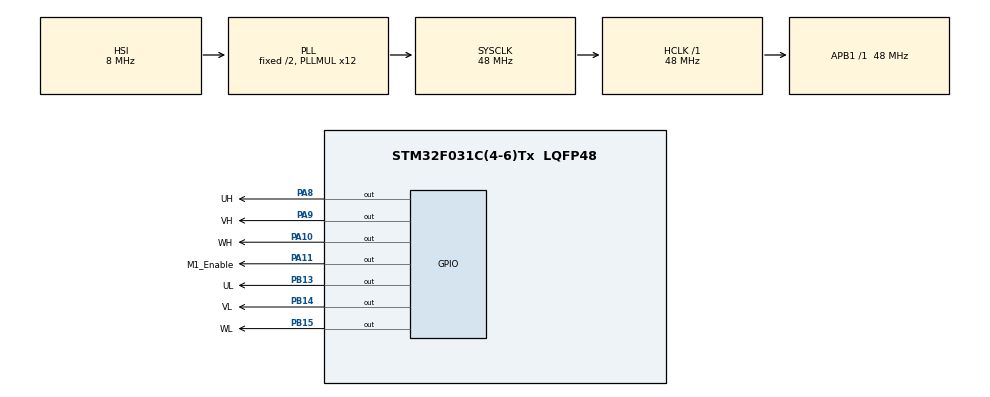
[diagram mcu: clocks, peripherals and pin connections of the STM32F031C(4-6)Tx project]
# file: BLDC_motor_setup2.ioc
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Mcu.Family=STM32F0
Mcu.Name=STM32F031C(4-6)Tx
Mcu.Package=LQFP48
PA10.GPIO_Label=WH
PA10.Signal=GPIO_Output
PA11.GPIO_Label=M1_Enable
PA11.Signal=GPIO_Output
PA13.Mode=Serial_Wire
PA13.Signal=SYS_SWDIO
PA14.Mode=Serial_Wire
PA14.Signal=SYS_SWCLK
PA8.GPIO_Label=UH
PA8.Signal=GPIO_Output
PA9.GPIO_Label=VH
PA9.Signal=GPIO_Output
PB13.GPIO_Label=UL
PB13.Signal=GPIO_Output
PB14.GPIO_Label=VL
PB14.Signal=GPIO_Output
PB15.GPIO_Label=WL
PB15.Signal=GPIO_Output
PF0-OSC_IN.Mode=HSE-External-Oscillator
PF0-OSC_IN.Signal=RCC_OSC_IN
PF1-OSC_OUT.Mode=HSE-External-Oscillator
PF1-OSC_OUT.Signal=RCC_OSC_OUT
ProjectManager.HeapSize=0x200
ProjectManager.StackSize=0x400
ProjectManager.TargetToolchain=STM32CubeIDE
RCC.AHBFreq_Value=48000000
RCC.APB1Freq_Value=48000000
RCC.APB1TimFreq_Value=48000000
RCC.HCLKFreq_Value=48000000
RCC.PLLMUL=RCC_PLL_MUL12
RCC.SYSCLKFreq_VALUE=48000000
RCC.SYSCLKSource=RCC_SYSCLKSOURCE_PLLCLK
TIM1.Period=100-1
TIM1.Prescaler=48-1
VP_TIM1_VS_ClockSourceINT.Mode=Internal
board=custom

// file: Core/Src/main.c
/* USER CODE BEGIN Header */
/**
  ******************************************************************************
  * @file           : main.c
  * @brief          : Main program body
  ******************************************************************************
  * @attention
  *
  * Copyright (c) 2023 STMicroelectronics.
  * All rights reserved.
  *
  * This software is licensed under terms that can be found in the LICENSE file
  * in the root directory of this software component.
  * If no LICENSE file comes with this software, it is provided AS-IS.
  *
  ******************************************************************************
  */
/* USER CODE END Header */
#include "main.h"

/* USER CODE BEGIN PD */
 uint8_t state = 0;
/* USER CODE END PD */

TIM_HandleTypeDef htim1;

void SystemClock_Config(void);
static void MX_GPIO_Init(void);
static void MX_TIM1_Init(void);

/* USER CODE BEGIN 0 */

void motor_operate(uint8_t val)
{
	HAL_GPIO_WritePin(M1_Enable_GPIO_Port, M1_Enable_Pin, 1);

switch(val)
{

case 0:
	HAL_GPIO_WritePin(UL_GPIO_Port, UL_Pin,0);
	HAL_GPIO_WritePin(UH_GPIO_Port, UH_Pin,1);
	HAL_GPIO_WritePin(VL_GPIO_Port, VL_Pin,1);
	HAL_GPIO_WritePin(VH_GPIO_Port, VH_Pin,0);
	HAL_GPIO_WritePin(WL_GPIO_Port, WL_Pin,0);
	HAL_GPIO_WritePin(WH_GPIO_Port, WH_Pin,0);

case 1:
	HAL_GPIO_WritePin(UL_GPIO_Port, UL_Pin,0);
	HAL_GPIO_WritePin(UH_GPIO_Port, UH_Pin,1);
	HAL_GPIO_WritePin(VL_GPIO_Port, VL_Pin,0);
	HAL_GPIO_WritePin(VH_GPIO_Port, VH_Pin,0);
	HAL_GPIO_WritePin(WL_GPIO_Port, WL_Pin,1);
	HAL_GPIO_WritePin(WH_GPIO_Port, WH_Pin,0);

case 2:
	HAL_GPIO_WritePin(UL_GPIO_Port, UL_Pin,0);
	HAL_GPIO_WritePin(UH_GPIO_Port, UH_Pin,0);
	HAL_GPIO_WritePin(VL_GPIO_Port, VL_Pin,0);
	HAL_GPIO_WritePin(VH_GPIO_Port, VH_Pin,1);
	HAL_GPIO_WritePin(WL_GPIO_Port, WL_Pin,1);
	HAL_GPIO_WritePin(WH_GPIO_Port, WH_Pin,0);

case 3:
	HAL_GPIO_WritePin(UL_GPIO_Port, UL_Pin,1);
	HAL_GPIO_WritePin(UH_GPIO_Port, UH_Pin,0);
	HAL_GPIO_WritePin(VL_GPIO_Port, VL_Pin,0);
	HAL_GPIO_WritePin(VH_GPIO_Port, VH_Pin,1);
	HAL_GPIO_WritePin(WL_GPIO_Port, WL_Pin,0);
	HAL_GPIO_WritePin(WH_GPIO_Port, WH_Pin,0);

case 4:
	HAL_GPIO_WritePin(UL_GPIO_Port, UL_Pin,1);
	HAL_GPIO_WritePin(UH_GPIO_Port, UH_Pin,0);
	HAL_GPIO_WritePin(VL_GPIO_Port, VL_Pin,0);
	HAL_GPIO_WritePin(VH_GPIO_Port, VH_Pin,0);
	HAL_GPIO_WritePin(WL_GPIO_Port, WL_Pin,0);
	HAL_GPIO_WritePin(WH_GPIO_Port, WH_Pin,1);

case 5:
	HAL_GPIO_WritePin(UL_GPIO_Port, UL_Pin,0);
	HAL_GPIO_WritePin(UH_GPIO_Port, UH_Pin,0);
	HAL_GPIO_WritePin(VL_GPIO_Port, VL_Pin,1);
	HAL_GPIO_WritePin(VH_GPIO_Port, VH_Pin,0);
	HAL_GPIO_WritePin(WL_GPIO_Port, WL_Pin,0);
	HAL_GPIO_WritePin(WH_GPIO_Port, WH_Pin,1);

}

HAL_GPIO_WritePin(M1_Enable_GPIO_Port, M1_Enable_Pin, 0);

}

/* USER CODE END 0 */

int main(void)
{

  /* MCU Configuration--------------------------------------------------------*/

  /* Reset of all peripherals, Initializes the Flash interface and the Systick. */
  HAL_Init();

  /* Configure the system clock */
  SystemClock_Config();

  /* Initialize all configured peripherals */
  MX_GPIO_Init();
  MX_TIM1_Init();
  /* USER CODE BEGIN 2 */
//  TIM1->CCR1 = 100;
  /* USER CODE END 2 */

  /* Infinite loop */
  while (1)
  {

    /* USER CODE BEGIN 3 */

//	    HAL_GPIO_WritePin(UL_GPIO_Port, UL_Pin,0);
//	  	HAL_GPIO_WritePin(UH_GPIO_Port, UH_Pin,1);
//	  	HAL_GPIO_WritePin(VL_GPIO_Port, VL_Pin,1);
	  	HAL_GPIO_WritePin(VH_GPIO_Port, VH_Pin,0);
//	  	HAL_GPIO_WritePin(WL_GPIO_Port, WL_Pin,0);
//	  	HAL_GPIO_WritePin(WH_GPIO_Port, WH_Pin,0);

	  	HAL_Delay(3000);

	  	HAL_GPIO_WritePin(VH_GPIO_Port, VH_Pin,1);
	  	HAL_Delay(3000);

  }
  /* USER CODE END 3 */
}

void SystemClock_Config(void)
{
  RCC_OscInitTypeDef RCC_OscInitStruct = {0};
  RCC_ClkInitTypeDef RCC_ClkInitStruct = {0};

  /** Initializes the RCC Oscillators according to the specified parameters
  * in the RCC_OscInitTypeDef structure.
  */
  RCC_OscInitStruct.OscillatorType = RCC_OSCILLATORTYPE_HSI;
  RCC_OscInitStruct.HSIState = RCC_HSI_ON;
  RCC_OscInitStruct.HSICalibrationValue = RCC_HSICALIBRATION_DEFAULT;
  RCC_OscInitStruct.PLL.PLLState = RCC_PLL_ON;
  RCC_OscInitStruct.PLL.PLLSource = RCC_PLLSOURCE_HSI;
  RCC_OscInitStruct.PLL.PLLMUL = RCC_PLL_MUL12;
  RCC_OscInitStruct.PLL.PREDIV = RCC_PREDIV_DIV1;
  if (HAL_RCC_OscConfig(&RCC_OscInitStruct) != HAL_OK)
  {
    Error_Handler();
  }

  /** Initializes the CPU, AHB and APB buses clocks
  */
  RCC_ClkInitStruct.ClockType = RCC_CLOCKTYPE_HCLK|RCC_CLOCKTYPE_SYSCLK
                              |RCC_CLOCKTYPE_PCLK1;
  RCC_ClkInitStruct.SYSCLKSource = RCC_SYSCLKSOURCE_PLLCLK;
  RCC_ClkInitStruct.AHBCLKDivider = RCC_SYSCLK_DIV1;
  RCC_ClkInitStruct.APB1CLKDivider = RCC_HCLK_DIV1;

  if (HAL_RCC_ClockConfig(&RCC_ClkInitStruct, FLASH_LATENCY_1) != HAL_OK)
  {
    Error_Handler();
  }
}

static void MX_TIM1_Init(void)
{

  TIM_ClockConfigTypeDef sClockSourceConfig = {0};
  TIM_MasterConfigTypeDef sMasterConfig = {0};

  htim1.Instance = TIM1;
  htim1.Init.Prescaler = 48-1;
  htim1.Init.CounterMode = TIM_COUNTERMODE_UP;
  htim1.Init.Period = 100-1;
  htim1.Init.ClockDivision = TIM_CLOCKDIVISION_DIV1;
  htim1.Init.RepetitionCounter = 0;
  htim1.Init.AutoReloadPreload = TIM_AUTORELOAD_PRELOAD_DISABLE;
  if (HAL_TIM_Base_Init(&htim1) != HAL_OK)
  {
    Error_Handler();
  }
  sClockSourceConfig.ClockSource = TIM_CLOCKSOURCE_INTERNAL;
  if (HAL_TIM_ConfigClockSource(&htim1, &sClockSourceConfig) != HAL_OK)
  {
    Error_Handler();
  }
  sMasterConfig.MasterOutputTrigger = TIM_TRGO_RESET;
  sMasterConfig.MasterSlaveMode = TIM_MASTERSLAVEMODE_DISABLE;
  if (HAL_TIMEx_MasterConfigSynchronization(&htim1, &sMasterConfig) != HAL_OK)
  {
    Error_Handler();
  }

}

static void MX_GPIO_Init(void)
{
  GPIO_InitTypeDef GPIO_InitStruct = {0};

  /* GPIO Ports Clock Enable */
  __HAL_RCC_GPIOF_CLK_ENABLE();
  __HAL_RCC_GPIOB_CLK_ENABLE();
  __HAL_RCC_GPIOA_CLK_ENABLE();

  /*Configure GPIO pin Output Level */
  HAL_GPIO_WritePin(GPIOB, UL_Pin|VL_Pin|WL_Pin, GPIO_PIN_RESET);

  /*Configure GPIO pin Output Level */
  HAL_GPIO_WritePin(GPIOA, UH_Pin|VH_Pin|WH_Pin|M1_Enable_Pin, GPIO_PIN_RESET);

  /*Configure GPIO pins : UL_Pin VL_Pin WL_Pin */
  GPIO_InitStruct.Pin = UL_Pin|VL_Pin|WL_Pin;
  GPIO_InitStruct.Mode = GPIO_MODE_OUTPUT_PP;
  GPIO_InitStruct.Pull = GPIO_NOPULL;
  GPIO_InitStruct.Speed = GPIO_SPEED_FREQ_LOW;
  HAL_GPIO_Init(GPIOB, &GPIO_InitStruct);

  /*Configure GPIO pins : UH_Pin VH_Pin WH_Pin M1_Enable_Pin */
  GPIO_InitStruct.Pin = UH_Pin|VH_Pin|WH_Pin|M1_Enable_Pin;
  GPIO_InitStruct.Mode = GPIO_MODE_OUTPUT_PP;
  GPIO_InitStruct.Pull = GPIO_NOPULL;
  GPIO_InitStruct.Speed = GPIO_SPEED_FREQ_LOW;
  HAL_GPIO_Init(GPIOA, &GPIO_InitStruct);

}

void Error_Handler(void)
{
  __disable_irq();
  while (1)
  {
  }
}
